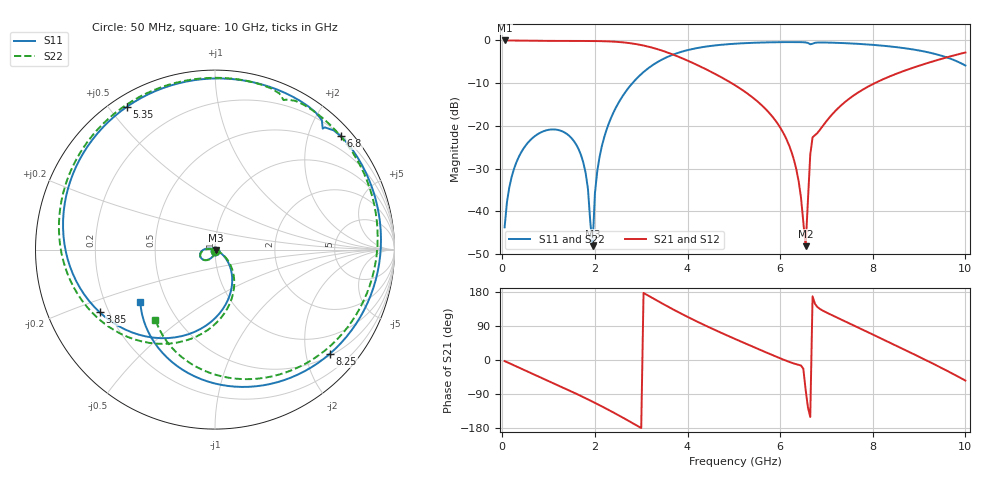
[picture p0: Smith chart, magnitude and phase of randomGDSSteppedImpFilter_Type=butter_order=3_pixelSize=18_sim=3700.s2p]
! freq	dB(S11)	phase(S11)	dB(S12)	phase(S12)
!  dB(S21)	phase(S21)	dB(S22)	phase(S22)
!S-par simulation data
#  GHz  S  DB  R 50
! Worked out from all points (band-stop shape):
!   200 points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, 50 MHz to 10 GHz, reference 50 ohm
!   highest |S21| = -0.01 dB at 50 MHz (marker M1); lowest = -48.1 dB at 6.55 GHz (marker M2)
!   |S21| within 3 dB of the highest: start of sweep to 3.613 GHz; 9.931 GHz to end of sweep
!   lowest |S11| = -48.1 dB at 1.95 GHz (marker M3), VSWR 1.01, Z = 50.4 - j0.156 ohm
!   |S11| at or under -10 dB: start of sweep to 2.809 GHz
!   |S22| runs from -46.8 to -0.4 dB; largest |S21 - S12| = 0
!   S11 on the Smith chart (normalised r, x): 50 MHz: 1.00, -0.01; 3.85 GHz: 0.16, -0.25; 5.35 GHz: 0.04, +0.56; 6.8 GHz: 0.22, +2.59; 8.25 GHz: 0.54, -2.49; 10 GHz: 0.35, -0.28
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0.05  -43.73 -90.3  -0.01 -2.8  -0.01 -2.8  -43.73 -90.2
0.25  -30.14 -103.7  -0.03 -13.9  -0.03 -13.9  -30.14 -103.3
0.7  -22.41 -129.8  -0.08 -38.7  -0.08 -38.7  -22.41 -128.5
1.35  -21.56 -166.8  -0.12 -74.9  -0.12 -74.9  -21.57 -164.0
1.75  -28.58 169.7  -0.13 -98.0  -0.13 -98.0  -28.61 174.7
1.95  -48.08 -23.0  -0.14 -110.0  -0.14 -110.0  -46.82 -45.3
2.05  -30.64 -28.9  -0.15 -116.1  -0.15 -116.1  -30.56 -29.2
2.3  -19.42 -45.0  -0.23 -132.0  -0.23 -132.0  -19.39 -42.4
3.4  -4.76 -121.4  -2.21 152.8  -2.21 152.8  -4.75 -115.4
3.85  -2.72 -151.5  -4.02 123.2  -4.02 123.2  -2.71 -144.2
5.05  -0.75 138.0  -10.65 54.2  -10.65 54.2  -0.74 149.4
5.35  -0.58 121.6  -12.88 38.3  -12.88 38.3  -0.57 134.0
6.2  -0.39 74.4  -24.74 -5.2  -24.74 -5.2  -0.38 90.0
6.4  -0.39 62.9  -32.99 -12.8  -32.99 -12.8  -0.39 79.2
6.55  -0.47 53.7  -48.13 -78.2  -48.13 -78.2  -0.44 70.6
6.7  -0.77 48.1  -22.66 168.1  -22.66 168.1  -0.67 64.6
6.8  -0.50 41.9  -21.70 140.4  -21.70 140.4  -0.48 58.8
7.5  -0.69 0.8  -13.56 96.3  -13.56 96.3  -0.68 18.7
8.25  -1.27 -42.2  -8.95 52.7  -8.95 52.7  -1.25 -24.7
8.35  -1.38 -47.8  -8.49 46.8  -8.49 46.8  -1.35 -30.6
9.15  -2.67 -93.3  -5.40 -0.5  -5.40 -0.5  -2.63 -77.7
10  -5.86 -144.8  -2.82 -54.3  -2.82 -54.3  -5.81 -130.4
